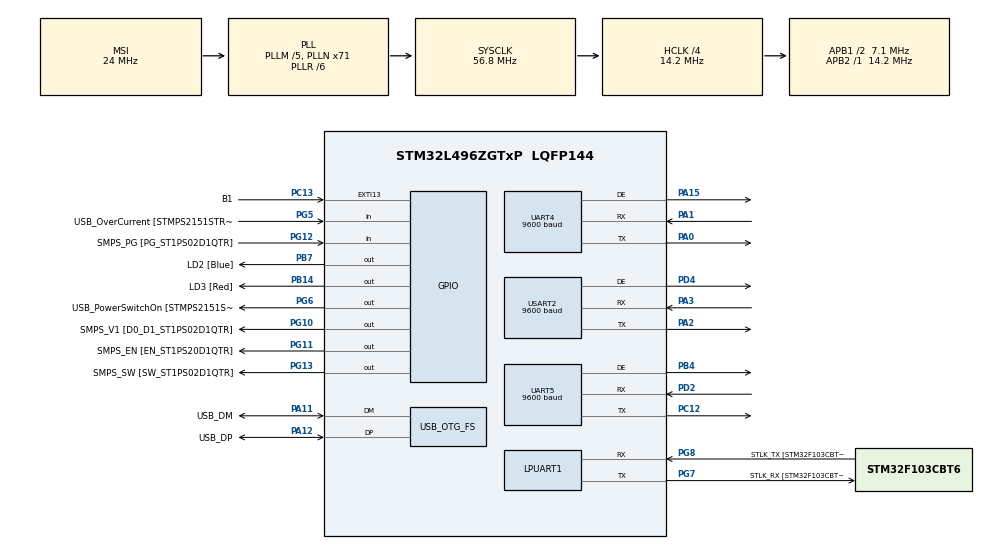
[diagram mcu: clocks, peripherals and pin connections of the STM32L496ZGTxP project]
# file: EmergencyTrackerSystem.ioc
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Mcu.Family=STM32L4
Mcu.Name=STM32L496ZGTxP
Mcu.Package=LQFP144
NVIC.OTG_FS_IRQn=true\:0\:0\:false\:false\:true\:true\:true\:true
NVIC.PriorityGroup=NVIC_PRIORITYGROUP_4
NVIC.UART4_IRQn=true\:0\:0\:false\:false\:true\:true\:true\:true
NVIC.UART5_IRQn=true\:0\:0\:false\:false\:true\:true\:true\:true
NVIC.USART2_IRQn=true\:0\:0\:false\:false\:true\:true\:true\:true
PA0.Mode=Asynchronous
PA0.Signal=UART4_TX
PA1.Mode=Asynchronous
PA1.Signal=UART4_RX
PA10.GPIO_Label=USB_ID
PA10.Signal=USB_OTG_FS_ID
PA11.GPIO_Label=USB_DM
PA11.Mode=Host_Only
PA11.Signal=USB_OTG_FS_DM
PA12.GPIO_Label=USB_DP
PA12.Mode=Host_Only
PA12.Signal=USB_OTG_FS_DP
PA13\ (JTMS/SWDIO).GPIO_Label=TMS
PA13\ (JTMS/SWDIO).Mode=Trace_Asynchronous_SW
PA13\ (JTMS/SWDIO).Signal=SYS_JTMS-SWDIO
PA14\ (JTCK/SWCLK).GPIO_Label=TCK
PA14\ (JTCK/SWCLK).Mode=Trace_Asynchronous_SW
PA14\ (JTCK/SWCLK).Signal=SYS_JTCK-SWCLK
PA15\ (JTDI).Mode=Hardware Flow Control (RS485)
PA15\ (JTDI).Signal=UART4_DE
PA2.Mode=Asynchronous
PA2.Signal=USART2_TX
PA3.Mode=Asynchronous
PA3.Signal=USART2_RX
PA8.GPIO_Label=USB_SOF [TP1]
PA8.Signal=USB_OTG_FS_SOF
PA9.GPIO_Label=USB_VBUS
PA9.Signal=USB_OTG_FS_VBUS
PB14.GPIO_Label=LD3 [Red]
PB14.Signal=GPIO_Output
PB3\ (JTDO/TRACESWO).GPIO_Label=SWO
PB3\ (JTDO/TRACESWO).Mode=Trace_Asynchronous_SW
PB3\ (JTDO/TRACESWO).Signal=SYS_JTDO-SWO
PB4\ (NJTRST).Mode=Hardware Flow Control (RS485)
PB4\ (NJTRST).Signal=UART5_DE
PB7.GPIO_Label=LD2 [Blue]
PB7.Signal=GPIO_Output
PC12.Mode=Asynchronous
PC12.Signal=UART5_TX
PC13.GPIO_Label=B1
PC13.Signal=GPXTI13
PC14-OSC32_IN\ (PC14).Mode=LSE-External-Oscillator
PC14-OSC32_IN\ (PC14).Signal=RCC_OSC32_IN
PC15-OSC32_OUT\ (PC15).Mode=LSE-External-Oscillator
PC15-OSC32_OUT\ (PC15).Signal=RCC_OSC32_OUT
PD2.Mode=Asynchronous
PD2.Signal=UART5_RX
PD4.Mode=Hardware Flow Control (RS485)
PD4.Signal=USART2_DE
PG10.GPIO_Label=SMPS_V1 [D0_D1_ST1PS02D1QTR]
PG10.Signal=GPIO_Output
PG11.GPIO_Label=SMPS_EN [EN_ST1PS20D1QTR]
PG11.Signal=GPIO_Output
PG12.GPIO_Label=SMPS_PG [PG_ST1PS02D1QTR]
PG12.Signal=GPIO_Input
PG13.GPIO_Label=SMPS_SW [SW_ST1PS02D1QTR]
PG13.Signal=GPIO_Output
PG5.GPIO_Label=USB_OverCurrent [STMPS2151STR_FAULT]
PG5.Signal=GPIO_Input
PG6.GPIO_Label=USB_PowerSwitchOn [STMPS2151STR_EN]
PG6.Signal=GPIO_Output
PG7.GPIO_Label=STLK_RX [STM32F103CBT6_PA3]
PG7.Mode=Asynchronous
PG7.Signal=LPUART1_TX
PG8.GPIO_Label=STLK_TX [STM32F103CBT6_PA2]
PG8.Mode=Asynchronous
PG8.Signal=LPUART1_RX
PH0-OSC_IN\ (PH0).GPIO_Label=MCO
PH0-OSC_IN\ (PH0).Signal=RCC_OSC_IN
PH1-OSC_OUT\ (PH1).Signal=RCC_OSC_OUT
ProjectManager.HeapSize=0x200
ProjectManager.StackSize=0x400
ProjectManager.TargetToolchain=STM32CubeIDE
RCC.48MHZClocksFreq_Value=24000000
RCC.ADCFreq_Value=48000000
RCC.AHBCLKDivider=RCC_SYSCLK_DIV4
RCC.AHBFreq_Value=14200000
RCC.APB1CLKDivider=RCC_HCLK_DIV2
RCC.APB1Freq_Value=7100000
RCC.APB1TimFreq_Value=14200000
RCC.APB2Freq_Value=14200000
RCC.APB2TimFreq_Value=14200000
RCC.CortexFreq_Value=14200000
RCC.HCLKFreq_Value=14200000
RCC.HSE_VALUE=8000000
RCC.HSI48_VALUE=48000000
RCC.HSI_VALUE=16000000
RCC.MSIClockRange=RCC_MSIRANGE_9
RCC.MSI_VALUE=24000000
RCC.PLLM=5
RCC.PLLMUL=RCC_PLL_MUL9
RCC.PLLN=71
RCC.PLLR=RCC_PLLR_DIV6
RCC.PLLSAI1N=20
RCC.PRESCALERUSB=RCC_USBCLKSOURCE_PLL_DIV1_5
RCC.SYSCLKFreq_VALUE=56800000
RCC.SYSCLKSource=RCC_SYSCLKSOURCE_PLLCLK
RCC.SYSCLKSourceVirtual=RCC_SYSCLKSOURCE_PLLCLK
RCC.USBFreq_Value=48000000
RCC.VCOOutputFreq_Value=340800000
UART4.BaudRate=9600
UART5.BaudRate=9600
USART2.BaudRate=9600
USART2.VirtualMode-Asynchronous=VM_ASYNC
USART2.VirtualMode-Hardware\ Flow\ Control\ (RS485)=VM_ASYNC
USB_HOST.BSP.number=1
USB_HOST.USBH_HandleTypeDef=hUsbHostFS
USB_HOST.VirtualModeFS=Audio
USB_HOST0.BSP.STBoard=false
USB_HOST0.BSP.api=UnknownBspDriver
USB_HOST0.BSP.instance=PG6
USB_HOST0.BSP.ip=GPIO
USB_HOST0.BSP.mode=Output
USB_HOST0.BSP.name=Drive_VBUS_FS
USB_HOST0.BSP.solution=PG6
USB_OTG_FS.VirtualMode=Host_Only
USB_OTG_FS.phy_itface=HCD_PHY_EMBEDDED
VP_USB_HOST_VS_USB_HOST_AUDIO_FS.Mode=AUDIO_FS
board=NUCLEO-L496ZG-P

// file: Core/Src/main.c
/* USER CODE BEGIN Header */
/**
  ******************************************************************************
  * @file           : main.c
  * @brief          : Main program body
  ******************************************************************************
  * @attention
  *
  * Copyright (c) 2024 STMicroelectronics.
  * All rights reserved.
  *
  * This software is licensed under terms that can be found in the LICENSE file
  * in the root directory of this software component.
  * If no LICENSE file comes with this software, it is provided AS-IS.
  *
  ******************************************************************************
  */
/* USER CODE END Header */
#include "main.h"
#include "usb_host.h"

/* USER CODE BEGIN Includes */
#include "stm32l4xx_hal.h"
#include "stdio.h"
#include <string.h>
/* USER CODE END Includes */

UART_HandleTypeDef hlpuart1;
UART_HandleTypeDef huart4;
UART_HandleTypeDef huart5;
UART_HandleTypeDef huart2;

void SystemClock_Config(void);
static void MX_GPIO_Init(void);
static void MX_LPUART1_UART_Init(void);
static void MX_UART4_Init(void);
static void MX_UART5_Init(void);
static void MX_USART2_UART_Init(void);
void MX_USB_HOST_Process(void);

/* USER CODE BEGIN 0 */
#define MAX_BLE_RX_MSG_LENGTH 11

typedef enum
{
  SLEEP       	= 0x00,
  BLUETOOTH    	= 0x01,
  GPS     		= 0x02,
  ALL  			= 0x03
} TrackerModes;

char gpsBuffer[256];  // Buffer to store incoming GPS data
TrackerModes mode = BLUETOOTH;
uint8_t messageReceived[MAX_BLE_RX_MSG_LENGTH];
uint8_t bleStop = 0;

void parseGPSData(char *data) {
	// Buffer to store the sentence type (e.g., GPGGA)
	char sentenceType[6];
	float latitudeValue, longitudeValue;
	char latDirection, lonDirection;

	// Parse the sentence type
	if (sscanf(data, "$%5[^,],", sentenceType) == 1) {
		if (strcmp(sentenceType, "GPGGA") == 0) {
			// Parse GPGGA sentence
			if (sscanf(data, "$GPGGA,%f,%f,%c,%f,%c", &latitudeValue, &longitudeValue, &latDirection, &longitudeValue, &lonDirection) == 5) {
				printf("Latitude: %.4f %c\n", latitudeValue, latDirection);
				printf("Longitude: %.4f %c\n", longitudeValue, lonDirection);
			} else {
				printf("[ERROR] Failed to parse GPGGA sentence\n");
			}
		} else {
			printf("[ERROR] Unsupported sentence type: %s\n", sentenceType);
		}
	} else {
		printf("[ERROR] Failed to extract sentence type\n");
	}
}

void HAL_UART_RxCpltCallback(UART_HandleTypeDef *huart) {
    if (huart == &huart4) {
    	if (huart->ErrorCode == HAL_UART_ERROR_ORE) {
			printf("[ERROR] something went wrong\n");
			__HAL_UART_CLEAR_OREFLAG(&huart4);
			HAL_UART_Receive_IT(&huart4, (uint8_t *)&huart4.Instance->RDR, 1);
			return;
		}

        static uint8_t dataIndex = 0;
        if (dataIndex < sizeof(gpsBuffer) - 1) {
            gpsBuffer[dataIndex++] = huart->Instance->RDR;
            if (huart->Instance->RDR == '\n') {
                gpsBuffer[dataIndex] = '\0';
                parseGPSData(gpsBuffer);
                dataIndex = 0;
            }
        }

        // continue to receive from urart 4 untill 225 bytes are receive
        HAL_UART_Receive_IT(&huart4, (uint8_t *)&huart4.Instance->RDR, 1);
    }

}

/* USER CODE END 0 */

int main(void)
{

  /* MCU Configuration--------------------------------------------------------*/

  /* Reset of all peripherals, Initializes the Flash interface and the Systick. */
  HAL_Init();

  /* Configure the system clock */
  SystemClock_Config();

  /* Initialize all configured peripherals */
  MX_GPIO_Init();
  MX_LPUART1_UART_Init();
  MX_USB_HOST_Init();
  MX_UART4_Init();
  MX_UART5_Init();
  MX_USART2_UART_Init();

  /* USER CODE BEGIN 2 */
  char* message = "AT+BT=ON\r\n";
  /* USER CODE END 2 */

  /* Infinite loop */
  while (1)
  {
    MX_USB_HOST_Process();

    /* USER CODE BEGIN 3 */
    HAL_Delay(3000);
    if (mode == GPS) {
    	  HAL_UART_Receive_IT(&huart4, (uint8_t *)&huart4.Instance->RDR, 1); // initalize the receive for the gps signal
    }else if (mode == BLUETOOTH) {

		if (bleStop == 0) {
			if (HAL_UART_Transmit(&huart2, (uint8_t *) message, strlen(message), HAL_MAX_DELAY) == HAL_OK) {
			  printf("Bluetooth Transmit okay! %s \n", message);
			  bleStop = 1;
			} else {
			  printf("Bluetooth transmit bad \n");
			}

	//			HAL_StatusTypeDef res = HAL_UART_Receive_IT(&huart2, messageReceived, MAX_BLE_RX_MSG_LENGTH);
	//			printf("Receive Code: %d\n", res);
		}

    }

  }
  /* USER CODE END 3 */
}

void SystemClock_Config(void)
{
  RCC_OscInitTypeDef RCC_OscInitStruct = {0};
  RCC_ClkInitTypeDef RCC_ClkInitStruct = {0};

  /** Configure the main internal regulator output voltage
  */
  if (HAL_PWREx_ControlVoltageScaling(PWR_REGULATOR_VOLTAGE_SCALE1) != HAL_OK)
  {
    Error_Handler();
  }

  /** Configure LSE Drive Capability
  */
  HAL_PWR_EnableBkUpAccess();
  __HAL_RCC_LSEDRIVE_CONFIG(RCC_LSEDRIVE_LOW);

  /** Initializes the RCC Oscillators according to the specified parameters
  * in the RCC_OscInitTypeDef structure.
  */
  RCC_OscInitStruct.OscillatorType = RCC_OSCILLATORTYPE_LSE|RCC_OSCILLATORTYPE_MSI;
  RCC_OscInitStruct.LSEState = RCC_LSE_ON;
  RCC_OscInitStruct.MSIState = RCC_MSI_ON;
  RCC_OscInitStruct.MSICalibrationValue = 0;
  RCC_OscInitStruct.MSIClockRange = RCC_MSIRANGE_9;
  RCC_OscInitStruct.PLL.PLLState = RCC_PLL_ON;
  RCC_OscInitStruct.PLL.PLLSource = RCC_PLLSOURCE_MSI;
  RCC_OscInitStruct.PLL.PLLM = 5;
  RCC_OscInitStruct.PLL.PLLN = 71;
  RCC_OscInitStruct.PLL.PLLP = RCC_PLLP_DIV2;
  RCC_OscInitStruct.PLL.PLLQ = RCC_PLLQ_DIV2;
  RCC_OscInitStruct.PLL.PLLR = RCC_PLLR_DIV6;
  if (HAL_RCC_OscConfig(&RCC_OscInitStruct) != HAL_OK)
  {
    Error_Handler();
  }

  /** Initializes the CPU, AHB and APB buses clocks
  */
  RCC_ClkInitStruct.ClockType = RCC_CLOCKTYPE_HCLK|RCC_CLOCKTYPE_SYSCLK
                              |RCC_CLOCKTYPE_PCLK1|RCC_CLOCKTYPE_PCLK2;
  RCC_ClkInitStruct.SYSCLKSource = RCC_SYSCLKSOURCE_PLLCLK;
  RCC_ClkInitStruct.AHBCLKDivider = RCC_SYSCLK_DIV4;
  RCC_ClkInitStruct.APB1CLKDivider = RCC_HCLK_DIV2;
  RCC_ClkInitStruct.APB2CLKDivider = RCC_HCLK_DIV1;

  if (HAL_RCC_ClockConfig(&RCC_ClkInitStruct, FLASH_LATENCY_0) != HAL_OK)
  {
    Error_Handler();
  }

  /** Enable MSI Auto calibration
  */
  HAL_RCCEx_EnableMSIPLLMode();
}

static void MX_LPUART1_UART_Init(void)
{

  hlpuart1.Instance = LPUART1;
  hlpuart1.Init.BaudRate = 209700;
  hlpuart1.Init.WordLength = UART_WORDLENGTH_7B;
  hlpuart1.Init.StopBits = UART_STOPBITS_1;
  hlpuart1.Init.Parity = UART_PARITY_NONE;
  hlpuart1.Init.Mode = UART_MODE_TX_RX;
  hlpuart1.Init.HwFlowCtl = UART_HWCONTROL_NONE;
  hlpuart1.Init.OneBitSampling = UART_ONE_BIT_SAMPLE_DISABLE;
  hlpuart1.AdvancedInit.AdvFeatureInit = UART_ADVFEATURE_NO_INIT;
  if (HAL_UART_Init(&hlpuart1) != HAL_OK)
  {
    Error_Handler();
  }

}

static void MX_UART4_Init(void)
{

  huart4.Instance = UART4;
  huart4.Init.BaudRate = 9600;
  huart4.Init.WordLength = UART_WORDLENGTH_8B;
  huart4.Init.StopBits = UART_STOPBITS_1;
  huart4.Init.Parity = UART_PARITY_NONE;
  huart4.Init.Mode = UART_MODE_TX_RX;
  huart4.Init.HwFlowCtl = UART_HWCONTROL_NONE;
  huart4.Init.OverSampling = UART_OVERSAMPLING_16;
  huart4.Init.OneBitSampling = UART_ONE_BIT_SAMPLE_DISABLE;
  huart4.AdvancedInit.AdvFeatureInit = UART_ADVFEATURE_NO_INIT;
  if (HAL_RS485Ex_Init(&huart4, UART_DE_POLARITY_HIGH, 0, 0) != HAL_OK)
  {
    Error_Handler();
  }

}

static void MX_UART5_Init(void)
{

  huart5.Instance = UART5;
  huart5.Init.BaudRate = 9600;
  huart5.Init.WordLength = UART_WORDLENGTH_8B;
  huart5.Init.StopBits = UART_STOPBITS_1;
  huart5.Init.Parity = UART_PARITY_NONE;
  huart5.Init.Mode = UART_MODE_TX_RX;
  huart5.Init.HwFlowCtl = UART_HWCONTROL_NONE;
  huart5.Init.OverSampling = UART_OVERSAMPLING_16;
  huart5.Init.OneBitSampling = UART_ONE_BIT_SAMPLE_DISABLE;
  huart5.AdvancedInit.AdvFeatureInit = UART_ADVFEATURE_NO_INIT;
  if (HAL_RS485Ex_Init(&huart5, UART_DE_POLARITY_HIGH, 0, 0) != HAL_OK)
  {
    Error_Handler();
  }

}

static void MX_USART2_UART_Init(void)
{

  huart2.Instance = USART2;
  huart2.Init.BaudRate = 9600;
  huart2.Init.WordLength = UART_WORDLENGTH_8B;
  huart2.Init.StopBits = UART_STOPBITS_1;
  huart2.Init.Parity = UART_PARITY_NONE;
  huart2.Init.Mode = UART_MODE_TX_RX;
  huart2.Init.HwFlowCtl = UART_HWCONTROL_NONE;
  huart2.Init.OverSampling = UART_OVERSAMPLING_16;
  huart2.Init.OneBitSampling = UART_ONE_BIT_SAMPLE_DISABLE;
  huart2.AdvancedInit.AdvFeatureInit = UART_ADVFEATURE_NO_INIT;
  if (HAL_RS485Ex_Init(&huart2, UART_DE_POLARITY_HIGH, 0, 0) != HAL_OK)
  {
    Error_Handler();
  }

}

static void MX_GPIO_Init(void)
{
  GPIO_InitTypeDef GPIO_InitStruct = {0};

  /* GPIO Ports Clock Enable */
  __HAL_RCC_GPIOC_CLK_ENABLE();
  __HAL_RCC_GPIOH_CLK_ENABLE();
  __HAL_RCC_GPIOA_CLK_ENABLE();
  __HAL_RCC_GPIOB_CLK_ENABLE();
  __HAL_RCC_GPIOG_CLK_ENABLE();
  HAL_PWREx_EnableVddIO2();
  __HAL_RCC_GPIOD_CLK_ENABLE();

  /*Configure GPIO pin Output Level */
  HAL_GPIO_WritePin(GPIOB, LD3_Pin|LD2_Pin, GPIO_PIN_RESET);

  /*Configure GPIO pin Output Level */
  HAL_GPIO_WritePin(GPIOG, USB_PowerSwitchOn_Pin|SMPS_V1_Pin|SMPS_EN_Pin|SMPS_SW_Pin, GPIO_PIN_RESET);

  /*Configure GPIO pin : B1_Pin */
  GPIO_InitStruct.Pin = B1_Pin;
  GPIO_InitStruct.Mode = GPIO_MODE_IT_RISING;
  GPIO_InitStruct.Pull = GPIO_NOPULL;
  HAL_GPIO_Init(B1_GPIO_Port, &GPIO_InitStruct);

  /*Configure GPIO pins : LD3_Pin LD2_Pin */
  GPIO_InitStruct.Pin = LD3_Pin|LD2_Pin;
  GPIO_InitStruct.Mode = GPIO_MODE_OUTPUT_PP;
  GPIO_InitStruct.Pull = GPIO_NOPULL;
  GPIO_InitStruct.Speed = GPIO_SPEED_FREQ_LOW;
  HAL_GPIO_Init(GPIOB, &GPIO_InitStruct);

  /*Configure GPIO pins : USB_OverCurrent_Pin SMPS_PG_Pin */
  GPIO_InitStruct.Pin = USB_OverCurrent_Pin|SMPS_PG_Pin;
  GPIO_InitStruct.Mode = GPIO_MODE_INPUT;
  GPIO_InitStruct.Pull = GPIO_NOPULL;
  HAL_GPIO_Init(GPIOG, &GPIO_InitStruct);

  /*Configure GPIO pins : USB_PowerSwitchOn_Pin SMPS_V1_Pin SMPS_EN_Pin SMPS_SW_Pin */
  GPIO_InitStruct.Pin = USB_PowerSwitchOn_Pin|SMPS_V1_Pin|SMPS_EN_Pin|SMPS_SW_Pin;
  GPIO_InitStruct.Mode = GPIO_MODE_OUTPUT_PP;
  GPIO_InitStruct.Pull = GPIO_NOPULL;
  GPIO_InitStruct.Speed = GPIO_SPEED_FREQ_LOW;
  HAL_GPIO_Init(GPIOG, &GPIO_InitStruct);

}

/* USER CODE BEGIN 4 */
int _write(int file, char *ptr, int len)
{
  (void)file;
  int DataIdx;

  for (DataIdx = 0; DataIdx < len; DataIdx++)
  {
    ITM_SendChar(*ptr++);
  }
  return len;
}

/* USER CODE END 4 */

void Error_Handler(void)
{
  __disable_irq();
  while (1)
  {
  }
}
